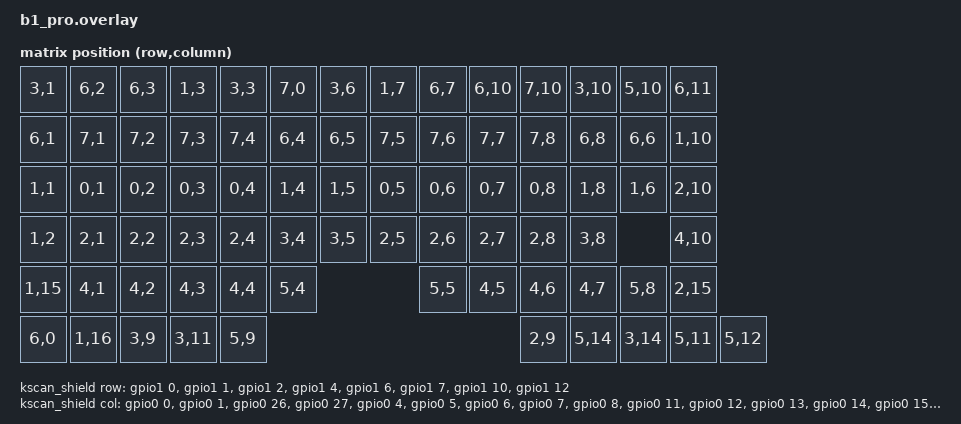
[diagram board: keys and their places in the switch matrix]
/*
 * Copyright (c) 2024 The ZMK Contributors
 * SPDX-License-Identifier: MIT
 */

#include <dt-bindings/zmk/matrix_transform.h>

/ {
    chosen {
        zmk,kscan = &kscan_shield;  // Changed from kscan0
        zmk,matrix_transform = &default_transform;
    };

    default_transform: keymap_transform_0 {
        compatible = "zmk,matrix-transform";
        columns = <18>;
        rows = <8>;
        map = <
            RC(3,1)  RC(6,2)  RC(6,3)  RC(1,3)  RC(3,3)  RC(7,0)  RC(3,6)  RC(1,7)  RC(6,7)  RC(6,10) RC(7,10) RC(3,10) RC(5,10) RC(6,11)
            RC(6,1)  RC(7,1)  RC(7,2)  RC(7,3)  RC(7,4)  RC(6,4)  RC(6,5)  RC(7,5)  RC(7,6)  RC(7,7)  RC(7,8)  RC(6,8)  RC(6,6)  RC(1,10)
            RC(1,1)  RC(0,1)  RC(0,2)  RC(0,3)  RC(0,4)  RC(1,4)  RC(1,5)  RC(0,5)  RC(0,6)  RC(0,7)  RC(0,8)  RC(1,8)  RC(1,6)  RC(2,10)
            RC(1,2)  RC(2,1)  RC(2,2)  RC(2,3)  RC(2,4)  RC(3,4)  RC(3,5)  RC(2,5)  RC(2,6)  RC(2,7)  RC(2,8)  RC(3,8)          RC(4,10)
            RC(1,15)         RC(4,1)  RC(4,2)  RC(4,3)  RC(4,4)  RC(5,4)  RC(5,5)  RC(4,5)  RC(4,6)  RC(4,7)  RC(5,8)          RC(2,15)
            RC(6,0)  RC(1,16) RC(3,9)                            RC(3,11)                    RC(5,9)  RC(2,9)  RC(5,14) RC(3,14) RC(5,11) RC(5,12)
        >;
    };

    kscan_shield: kscan {  // Changed from kscan0
        compatible = "zmk,kscan-gpio-matrix";
        diode-direction = "col2row";
        debounce-scan-period-ms = <4>;
        debounce-press-ms = <8>;
        debounce-release-ms = <8>;

        row-gpios
            = <&gpio1 0  (GPIO_ACTIVE_HIGH | GPIO_PULL_DOWN)>    //r0
            , <&gpio1 1  (GPIO_ACTIVE_HIGH | GPIO_PULL_DOWN)>    //r1
            , <&gpio1 2  (GPIO_ACTIVE_HIGH | GPIO_PULL_DOWN)>    //r2
            , <&gpio1 4  (GPIO_ACTIVE_HIGH | GPIO_PULL_DOWN)>    //r3
            , <&gpio1 6  (GPIO_ACTIVE_HIGH | GPIO_PULL_DOWN)>    //r4
            , <&gpio1 7  (GPIO_ACTIVE_HIGH | GPIO_PULL_DOWN)>    //r5
            , <&gpio1 10 (GPIO_ACTIVE_HIGH | GPIO_PULL_DOWN)>    //r6
            , <&gpio1 12 (GPIO_ACTIVE_HIGH | GPIO_PULL_DOWN)>    //r7
            ;

        col-gpios
            = <&gpio0 0  GPIO_ACTIVE_HIGH>   //c0
            , <&gpio0 1  GPIO_ACTIVE_HIGH>   //c1
            , <&gpio0 26 GPIO_ACTIVE_HIGH>   //c2
            , <&gpio0 27 GPIO_ACTIVE_HIGH>   //c3
            , <&gpio0 4  GPIO_ACTIVE_HIGH>   //c4
            , <&gpio0 5  GPIO_ACTIVE_HIGH>   //c5
            , <&gpio0 6  GPIO_ACTIVE_HIGH>   //c6
            , <&gpio0 7  GPIO_ACTIVE_HIGH>   //c7
            , <&gpio0 8  GPIO_ACTIVE_HIGH>   //c8
            , <&gpio0 11 GPIO_ACTIVE_HIGH>   //c9
            , <&gpio0 12 GPIO_ACTIVE_HIGH>   //c10
            , <&gpio0 13 GPIO_ACTIVE_HIGH>   //c11
            , <&gpio0 14 GPIO_ACTIVE_HIGH>   //c12
            , <&gpio0 15 GPIO_ACTIVE_HIGH>   //c13
            , <&gpio0 16 GPIO_ACTIVE_HIGH>   //c14
            , <&gpio0 17 GPIO_ACTIVE_HIGH>   //c15
            , <&gpio0 18 GPIO_ACTIVE_HIGH>   //c16
            , <&gpio0 20 GPIO_ACTIVE_HIGH>   //c17
            ;
    };
};

&gpio0 {
    status = "okay";
};

&gpio1 {
    status = "okay";
};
